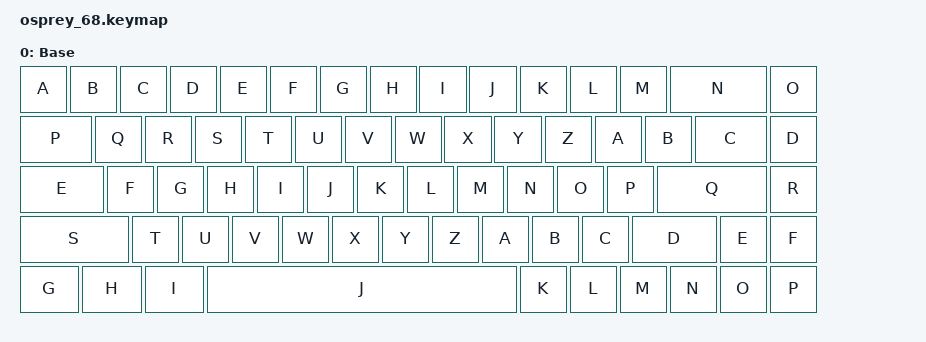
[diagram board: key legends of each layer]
#include <behaviors.dtsi>
#include <dt-bindings/zmk/keys.h>
#include <dt-bindings/zmk/outputs.h>


/ {

    keymap {
        compatible = "zmk,keymap";

        default_layer {
            display-name = "Base";
            bindings = <
                &kp A &kp B &kp C &kp D &kp E &kp F &kp G &kp H &kp I &kp J &kp K &kp L &kp M &kp N &kp O
                &kp P &kp Q &kp R &kp S &kp T &kp U &kp V &kp W &kp X &kp Y &kp Z &kp A &kp B &kp C &kp D
                &kp E &kp F &kp G &kp H &kp I &kp J &kp K &kp L &kp M &kp N &kp O &kp P &kp Q &kp R
                &kp S &kp T &kp U &kp V &kp W &kp X &kp Y &kp Z &kp A &kp B &kp C &kp D &kp E &kp F
                &kp G &kp H &kp I &kp J &kp K &kp L &kp M &kp N &kp O &kp P
            >;
        };
    };
};
